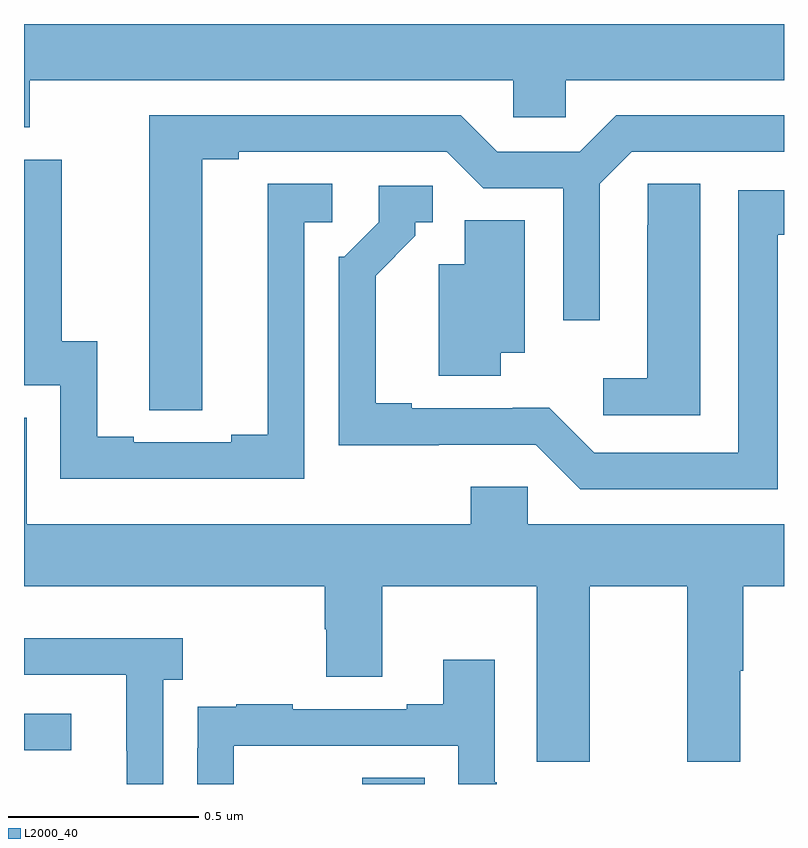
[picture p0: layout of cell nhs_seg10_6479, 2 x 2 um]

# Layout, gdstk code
import gdstk
lib = gdstk.Library(unit=1e-6, precision=1e-09)
def R(c, l, rs):  # rectangles x0, y0, x1, y1
    for r in rs: c.add(gdstk.rectangle(r[:2], r[2:], *l))
def P(c, l, *ps):  # polygons
    for p in ps: c.add(gdstk.Polygon(p, *l))
L2000_40 = (2000, 40)

nhs_seg10_6479 = lib.new_cell('nhs_seg10_6479')
R(nhs_seg10_6479, L2000_40, [(192.89,1262.5,193.054,1262.516), (192,1262.589,192.124,1262.685)])
P(nhs_seg10_6479, L2000_40, [(192.015,1264.352),(193.287,1264.352),(193.287,1264.254),(193.425,1264.254),(193.425,1264.352),(194,1264.352),(194,1264.5),(192,1264.5),(192,1264.228),(192.015,1264.228)],
  [(192.469,1264.144),(192.565,1264.144),(192.565,1264.164),(193.113,1264.164),(193.209,1264.068),(193.419,1264.068),(193.419,1263.72),(193.515,1263.72),(193.515,1264.08),(193.599,1264.164),(194,1264.164),(194,1264.26),(193.559,1264.26),(193.463,1264.164),(193.245,1264.164),(193.149,1264.26),(192.329,1264.26),(192.329,1263.592),(192.33,1263.592),(192.33,1263.484),(192.469,1263.484)],
  [(192.738,1263.978),(192.811,1263.978),(192.811,1264.079),(192.641,1264.079),(192.641,1263.419),(192.545,1263.419),(192.545,1263.399),(192.289,1263.399),(192.289,1263.414),(192.193,1263.414),(192.193,1263.665),(192.099,1263.665),(192.099,1264.143),(192,1264.143),(192,1263.549),(192.096,1263.549),(192.096,1263.303),(192.738,1263.303)],
  [(193.78,1264.079),(193.641,1264.079),(193.641,1263.971),(193.64,1263.971),(193.64,1263.568),(193.524,1263.568),(193.524,1263.471),(193.78,1263.471)],
  [(193.984,1263.946),(194,1263.946),(194,1264.062),(193.88,1264.062),(193.88,1263.372),(193.5,1263.372),(193.382,1263.49),(193.286,1263.49),(193.286,1263.489),(193.021,1263.489),(193.021,1263.502),(192.925,1263.502),(192.925,1263.838),(193.03,1263.943),(193.03,1263.978),(193.075,1263.978),(193.075,1264.074),(192.933,1264.074),(192.933,1263.978),(192.843,1263.888),(192.828,1263.888),(192.828,1263.392),(193.091,1263.392),(193.091,1263.393),(193.347,1263.393),(193.464,1263.276),(193.984,1263.276)],
  [(193.255,1263.635),(193.318,1263.635),(193.318,1263.983),(193.16,1263.983),(193.16,1263.868),(193.091,1263.868),(193.091,1263.574),(193.255,1263.574)],
  [(192.007,1263.464),(192,1263.464),(192,1263.02),(192.791,1263.02),(192.791,1262.907),(192.796,1262.907),(192.796,1262.782),(192.943,1262.782),(192.943,1263.02),(193.349,1263.02),(193.349,1262.559),(193.489,1262.559),(193.489,1263.02),(193.745,1263.02),(193.745,1262.559),(193.885,1262.559),(193.885,1262.798),(193.893,1262.798),(193.893,1263.02),(194,1263.02),(194,1263.184),(193.326,1263.184),(193.326,1263.282),(193.175,1263.282),(193.175,1263.184),(192.007,1263.184)],
  [(192.366,1262.774),(192.418,1262.774),(192.418,1262.884),(192,1262.884),(192,1262.787),(192.269,1262.787),(192.269,1262.587),(192.27,1262.587),(192.27,1262.5),(192.366,1262.5)],
  [(192.552,1262.601),(193.143,1262.601),(193.143,1262.5),(193.244,1262.5),(193.244,1262.504),(193.239,1262.504),(193.239,1262.827),(193.103,1262.827),(193.103,1262.71),(193.007,1262.71),(193.007,1262.697),(192.707,1262.697),(192.707,1262.71),(192.559,1262.71),(192.559,1262.703),(192.457,1262.703),(192.457,1262.594),(192.456,1262.594),(192.456,1262.5),(192.552,1262.5)])

lib.write_gds('nhs_seg10_6479.gds')
